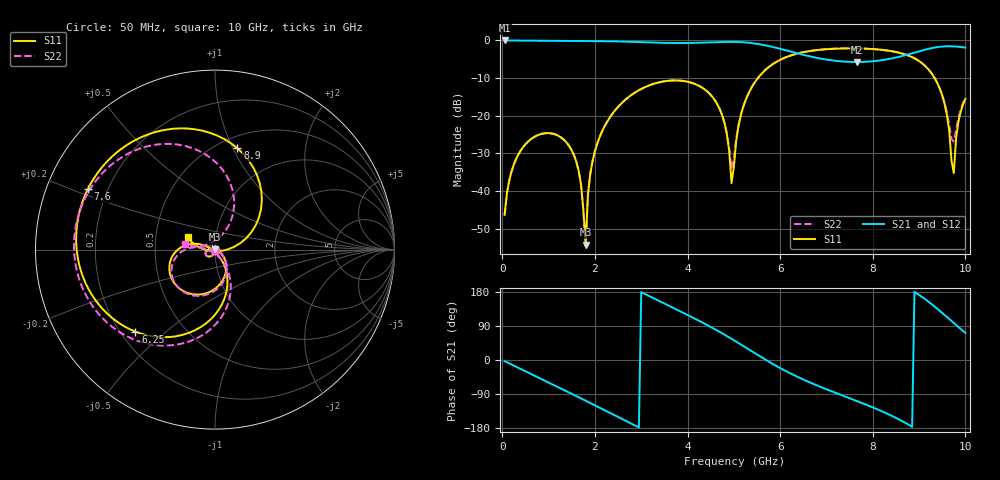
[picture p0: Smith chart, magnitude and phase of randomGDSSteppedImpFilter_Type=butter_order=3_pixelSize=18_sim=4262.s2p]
! freq	dB(S11)	phase(S11)	dB(S12)	phase(S12)
!  dB(S21)	phase(S21)	dB(S22)	phase(S22)
!S-par simulation data
#  GHz  S  DB  R 50
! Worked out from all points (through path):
!   200 points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, 50 MHz to 10 GHz, reference 50 ohm
!   highest |S21| = 0.00 dB at 50 MHz (marker M1); lowest = -5.7 dB at 7.65 GHz (marker M2)
!   group delay of S21, straight-line fit = 174 ps
!   lowest |S11| = -54.3 dB at 1.8 GHz (marker M3), VSWR 1.00, Z = 50.2 + j0.0748 ohm
!   |S11| at or under -10 dB: start of sweep to 5.521 GHz; 9.334 GHz to end of sweep
!   |S22| runs from -54.7 to -2.1 dB; largest |S21 - S12| = 0
!   S11 on the Smith chart (normalised r, x): 50 MHz: 1.00, -0.01; 6.25 GHz: 0.26, -0.40; 7.6 GHz: 0.13, +0.22; 8.9 GHz: 0.61, +1.04; 10 GHz: 0.73, +0.10
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0.05  -46.36 -88.5  -0.00 -3.0  -0.00 -3.0  -46.36 -88.4
0.35  -30.25 -110.9  -0.04 -20.9  -0.04 -20.9  -30.25 -110.3
0.95  -24.64 -148.0  -0.08 -56.5  -0.08 -56.5  -24.64 -146.3
1.5  -29.22 177.7  -0.11 -89.3  -0.11 -89.3  -29.25 -178.2
1.75  -44.93 151.9  -0.12 -104.4  -0.12 -104.4  -45.26 174.0
1.8  -54.26 22.6  -0.13 -107.4  -0.13 -107.4  -54.68 -44.2
1.9  -35.46 -21.4  -0.14 -113.5  -0.14 -113.5  -35.38 -25.6
2.15  -24.31 -39.6  -0.17 -128.8  -0.17 -128.8  -24.28 -38.9
3.4  -11.09 -117.2  -0.62 155.0  -0.62 155.0  -11.08 -112.8
4.55  -15.21 172.9  -0.48 84.0  -0.48 84.0  -15.19 -178.6
4.95  -37.92 -164.5  -0.38 55.9  -0.38 55.9  -33.87 -142.0
5.05  -26.79 -58.6  -0.40 48.6  -0.40 48.6  -26.17 -61.9
5.45  -11.20 -78.8  -0.80 18.3  -0.80 18.3  -11.15 -72.6
6.25  -3.92 -134.1  -3.04 -37.0  -3.04 -37.0  -3.89 -124.3
6.7  -2.72 -160.1  -4.40 -62.2  -4.40 -62.2  -2.69 -148.5
7.6  -2.11 154.6  -5.73 -105.6  -5.73 -105.6  -2.09 170.2
7.65  -2.12 152.1  -5.74 -108.0  -5.74 -108.0  -2.10 167.9
8.35  -2.74 114.9  -4.93 -143.8  -4.93 -143.8  -2.73 135.0
8.9  -4.76 77.5  -3.26 179.8  -3.26 179.8  -4.74 102.5
9.5  -14.67 20.0  -1.62 124.2  -1.62 124.2  -14.47 61.3
9.75  -35.26 -146.2  -1.58 97.5  -1.58 97.5  -26.84 133.0
10  -15.55 155.9  -1.90 71.4  -1.90 71.4  -15.27 169.4
